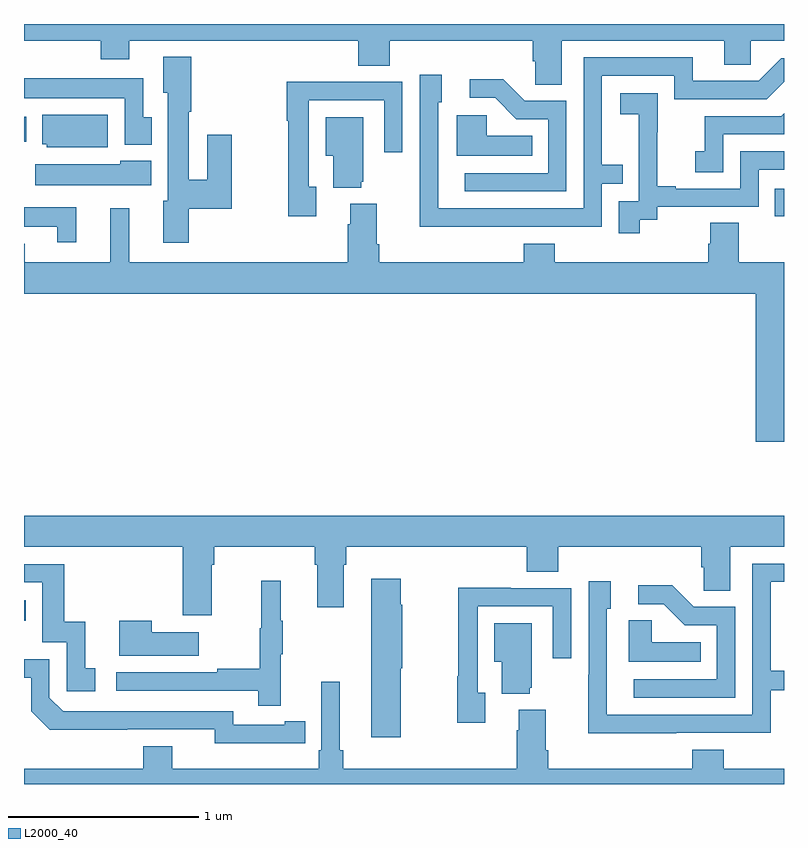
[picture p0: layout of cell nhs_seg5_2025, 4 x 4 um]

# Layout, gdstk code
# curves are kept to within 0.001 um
import gdstk
lib = gdstk.Library(unit=1e-6, precision=1e-09)
def R(c, l, rs):  # rectangles x0, y0, x1, y1
    for r in rs: c.add(gdstk.rectangle(r[:2], r[2:], *l))
def P(c, l, *ps):  # polygons
    for p in ps: c.add(gdstk.Polygon(p, *l))
L2000_40 = (2000, 40)

nhs_seg5_2025 = lib.new_cell('nhs_seg5_2025')
R(nhs_seg5_2025, L2000_40, [(229,901.659,229.01,901.765), (232.951,903.786,233,903.933), (229,904.178,229.012,904.312)])
P(nhs_seg5_2025, L2000_40, [(231.829,904.712),(232.685,904.712),(232.685,904.585),(232.824,904.585),(232.824,904.712),(233,904.712),(233,904.799),(229,904.799),(229,904.712),(229.403,904.712),(229.403,904.613),(229.555,904.613),(229.555,904.712),(230.759,904.712),(230.759,904.579),(230.924,904.579),(230.924,904.712),(231.677,904.712),(231.677,904.603),(231.69,904.603),(231.69,904.48),(231.829,904.48)],
  [(229.867,903.827),(230.094,903.827),(230.094,904.216),(229.964,904.216),(229.964,903.98),(229.867,903.98),(229.867,904.337),(229.88,904.337),(229.88,904.627),(229.733,904.627),(229.733,904.437),(229.757,904.437),(229.757,903.87),(229.733,903.87),(229.733,903.648),(229.867,903.648)],
  [(231.545,903.732),(232.041,903.732),(232.041,903.957),(232.151,903.957),(232.151,904.058),(232.041,904.058),(232.041,904.527),(232.422,904.527),(232.422,904.404),(232.908,904.404),(233,904.496),(233,904.62),(232.986,904.62),(232.866,904.5),(232.519,904.5),(232.519,904.623),(231.945,904.623),(231.945,903.828),(231.181,903.828),(231.18,904.386),(231.199,904.386),(231.199,904.531),(231.084,904.531),(231.084,904.037),(231.082,904.037),(231.082,903.731)],
  [(229.672,904.308),(229.627,904.308),(229.627,904.513),(229,904.513),(229,904.409),(229.53,904.409),(229.53,904.164),(229.672,904.164)],
  [(231.855,904.395),(231.636,904.395),(231.523,904.508),(231.345,904.508),(231.345,904.41),(231.479,904.41),(231.59,904.299),(231.759,904.299),(231.759,904.014),(231.321,904.014),(231.321,903.918),(231.855,903.918)],
  [(230.539,903.942),(230.499,903.942),(230.499,904.398),(230.895,904.398),(230.895,904.125),(230.991,904.125),(230.991,904.494),(230.675,904.494),(230.675,904.496),(230.383,904.496),(230.383,904.291),(230.391,904.291),(230.391,903.786),(230.539,903.786)],
  [(232.24,903.769),(232.332,903.769),(232.332,903.837),(232.866,903.837),(232.866,904.032),(233,904.032),(233,904.128),(232.77,904.128),(232.77,903.933),(232.429,903.933),(232.429,903.946),(232.334,903.946),(232.334,904.229),(232.335,904.229),(232.335,904.435),(232.137,904.435),(232.137,904.325),(232.235,904.325),(232.235,904.097),(232.236,904.097),(232.236,903.867),(232.131,903.867),(232.131,903.699),(232.24,903.699)],
  [(232.68,904.218),(233,904.218),(233,904.329),(232.985,904.314),(232.582,904.314),(232.582,904.129),(232.533,904.129),(232.533,904.02),(232.68,904.02)],
  [(229.441,904.321),(229.097,904.321),(229.097,904.167),(229.119,904.167),(229.119,904.151),(229.441,904.151)],
  [(231.674,904.21),(231.435,904.21),(231.435,904.318),(231.278,904.318),(231.278,904.106),(231.674,904.106)],
  [(230.774,903.969),(230.785,903.969),(230.785,904.309),(230.588,904.309),(230.588,904.106),(230.627,904.106),(230.627,903.938),(230.774,903.938)],
  [(229.669,904.078),(229.506,904.078),(229.506,904.06),(229.058,904.06),(229.058,903.95),(229.669,903.95)],
  [(233,903.544),(232.761,903.544),(232.761,903.752),(232.613,903.752),(232.613,903.642),(232.601,903.642),(232.601,903.544),(231.794,903.544),(231.794,903.643),(231.629,903.643),(231.629,903.544),(230.87,903.544),(230.87,903.64),(230.857,903.64),(230.857,903.853),(230.717,903.853),(230.717,903.746),(230.705,903.746),(230.705,903.544),(229.553,903.544),(229.553,903.829),(229.454,903.829),(229.454,903.544),(229.003,903.544),(229.003,903.643),(229,903.643),(229,903.38),(232.85,903.38),(232.85,902.601),(233,902.601)],
  [(229.274,903.835),(229,903.835),(229,903.731),(229.175,903.731),(229.175,903.651),(229.274,903.651)],
  [(229.987,901.952),(230,901.952),(230,902.048),(230.531,902.048),(230.531,901.952),(230.543,901.952),(230.543,901.728),(230.683,901.728),(230.683,901.952),(230.696,901.952),(230.696,902.048),(231.647,902.048),(231.647,901.915),(231.812,901.915),(231.812,902.048),(232.565,902.048),(232.565,901.939),(232.578,901.939),(232.578,901.816),(232.717,901.816),(232.717,902.048),(233,902.048),(233,902.212),(229,902.212),(229,902.048),(229.835,902.048),(229.835,901.686),(229.987,901.686)],
  [(232.433,901.068),(232.929,901.068),(232.929,901.293),(233,901.293),(233,901.394),(232.929,901.394),(232.929,901.863),(233,901.863),(233,901.959),(232.833,901.959),(232.833,901.164),(232.068,901.164),(232.068,901.722),(232.087,901.722),(232.087,901.867),(231.972,901.867),(231.972,901.373),(231.97,901.373),(231.97,901.067),(232.433,901.067)],
  [(229.375,901.407),(229.322,901.407),(229.322,901.654),(229.211,901.654),(229.211,901.956),(229,901.956),(229,901.86),(229.095,901.86),(229.095,901.545),(229.224,901.545),(229.224,901.287),(229.375,901.287)],
  [(230.982,901.407),(230.992,901.407),(230.992,901.743),(230.982,901.743),(230.982,901.879),(230.828,901.879),(230.828,901.044),(230.982,901.044)],
  [(230.351,901.483),(230.362,901.483),(230.362,901.657),(230.351,901.657),(230.351,901.87),(230.248,901.87),(230.248,901.62),(230.241,901.62),(230.241,901.406),(230.017,901.406),(230.017,901.386),(229.485,901.386),(229.485,901.29),(230.233,901.29),(230.233,901.212),(230.351,901.212)],
  [(232.743,901.731),(232.524,901.731),(232.411,901.844),(232.233,901.844),(232.233,901.746),(232.367,901.746),(232.478,901.635),(232.647,901.635),(232.647,901.35),(232.209,901.35),(232.209,901.254),(232.743,901.254)],
  [(231.427,901.278),(231.387,901.278),(231.387,901.734),(231.783,901.734),(231.783,901.461),(231.879,901.461),(231.879,901.83),(231.563,901.83),(231.563,901.832),(231.286,901.832),(231.286,901.366),(231.279,901.366),(231.279,901.122),(231.427,901.122)],
  [(232.562,901.546),(232.305,901.546),(232.305,901.661),(232.184,901.661),(232.184,901.442),(232.562,901.442)],
  [(229.921,901.597),(229.673,901.597),(229.673,901.657),(229.502,901.657),(229.502,901.475),(229.921,901.475)],
  [(231.662,901.305),(231.673,901.305),(231.673,901.645),(231.476,901.645),(231.476,901.442),(231.515,901.442),(231.515,901.274),(231.662,901.274)],
  [(230.372,901.014),(230.48,901.014),(230.48,901.13),(230.372,901.13),(230.372,901.11),(230.1,901.11),(230.1,901.182),(229.206,901.182),(229.134,901.254),(229.134,901.455),(229,901.455),(229,901.359),(229.038,901.359),(229.038,901.182),(229.136,901.085),(230.004,901.086),(230.004,901.013)],
  [(233,900.88),(232.682,900.88),(232.682,900.979),(232.517,900.979),(232.517,900.88),(231.758,900.88),(231.758,900.976),(231.745,900.976),(231.745,901.189),(231.605,901.189),(231.605,901.082),(231.593,901.082),(231.593,900.88),(230.681,900.88),(230.681,900.976),(230.662,900.976),(230.662,901.336),(230.565,901.336),(230.565,900.976),(230.552,900.976),(230.552,900.88),(229.78,900.88),(229.78,900.997),(229.628,900.997),(229.628,900.88),(229,900.88),(229,900.799),(233,900.799)])

lib.write_gds('nhs_seg5_2025.gds')
